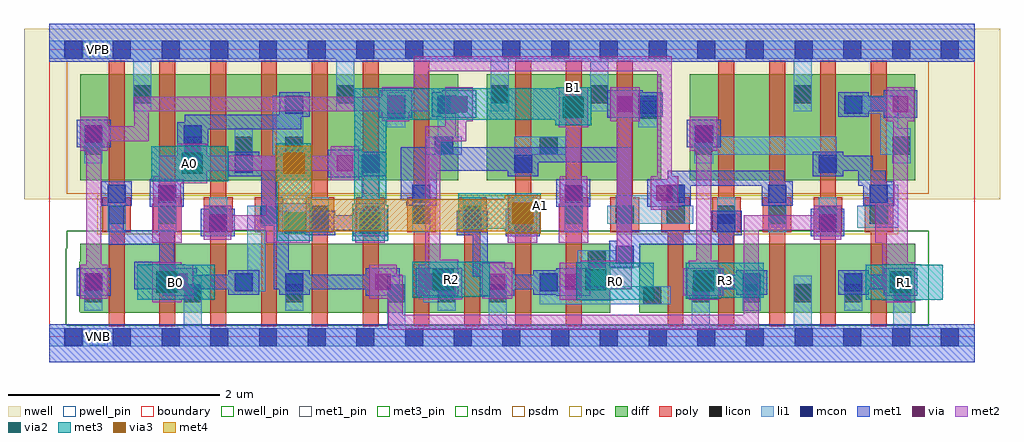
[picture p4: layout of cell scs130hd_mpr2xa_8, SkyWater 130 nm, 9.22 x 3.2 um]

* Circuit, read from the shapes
.subckt scs130hd_mpr2xa_8 A0 A1 B0 B1 R0 R1 R2 R3 VNB VPB vgnd vpwr
XM1 n1 B0 n2 VNB sky130_fd_pr__nfet_01v8 w=0.65 l=0.15
XM2 vgnd A0 n1 VNB sky130_fd_pr__nfet_01v8 w=0.65 l=0.15
XM3 n3 A1 vgnd VNB sky130_fd_pr__nfet_01v8 w=0.65 l=0.15
XM4 n4 B0 n3 VNB sky130_fd_pr__nfet_01v8 w=0.65 l=0.15
XM5 n5 B1 n4 VNB sky130_fd_pr__nfet_01v8 w=0.65 l=0.15
XM6 vgnd A0 n5 VNB sky130_fd_pr__nfet_01v8 w=0.65 l=0.15
XM7 R2 n6 vgnd VNB sky130_fd_pr__nfet_01v8 w=0.65 l=0.15
XM8 vgnd R0 R2 VNB sky130_fd_pr__nfet_01v8 w=0.65 l=0.15
XM9 n7 A1 vgnd VNB sky130_fd_pr__nfet_01v8 w=0.65 l=0.15
XM10 n6 B1 n7 VNB sky130_fd_pr__nfet_01v8 w=0.65 l=0.15
XM11 vgnd n2 R0 VNB sky130_fd_pr__nfet_01v8 w=0.65 l=0.15
XM12 R3 n6 vgnd VNB sky130_fd_pr__nfet_01v8 w=0.65 l=0.15
XM13 vgnd n2 R3 VNB sky130_fd_pr__nfet_01v8 w=0.65 l=0.15
XM14 R1 n4 vgnd VNB sky130_fd_pr__nfet_01v8 w=0.65 l=0.15
XM15 vgnd R3 R1 VNB sky130_fd_pr__nfet_01v8 w=0.65 l=0.15
XM16 vpwr B0 n2 VPB sky130_fd_pr__pfet_01v8 w=1 l=0.15
XM17 n8 A0 vpwr VPB sky130_fd_pr__pfet_01v8 w=1 l=0.15
XM18 n4 A1 n8 VPB sky130_fd_pr__pfet_01v8 w=1 l=0.15
XM19 n8 B0 n4 VPB sky130_fd_pr__pfet_01v8 w=1 l=0.15
XM20 vpwr B1 n8 VPB sky130_fd_pr__pfet_01v8 w=1 l=0.15
XM21 n2 A0 vpwr VPB sky130_fd_pr__pfet_01v8 w=1 l=0.15
XM22 R2 n6 n2 VPB sky130_fd_pr__pfet_01v8 w=1 l=0.15
XM23 n6 A1 vpwr VPB sky130_fd_pr__pfet_01v8 w=1 l=0.15
XM24 vpwr B1 n6 VPB sky130_fd_pr__pfet_01v8 w=1 l=0.15
XM25 R0 n2 vpwr VPB sky130_fd_pr__pfet_01v8 w=1 l=0.15
XM26 n9 n6 R3 VPB sky130_fd_pr__pfet_01v8 w=1 l=0.15
XM27 vpwr n2 n9 VPB sky130_fd_pr__pfet_01v8 w=1 l=0.15
XM28 n10 n4 vpwr VPB sky130_fd_pr__pfet_01v8 w=1 l=0.15
XM29 R1 R3 n10 VPB sky130_fd_pr__pfet_01v8 w=1 l=0.15
.ends

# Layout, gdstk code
import gdstk
lib = gdstk.Library(unit=1e-6, precision=1e-09)
def R(c, l, rs):  # rectangles x0, y0, x1, y1
    for r in rs: c.add(gdstk.rectangle(r[:2], r[2:], *l))
nwell_pin = (64, 16)
nwell = (64, 20)
diff = (65, 20)
poly = (66, 20)
licon = (66, 44)
li1 = (67, 20)
mcon = (67, 44)
met1_pin = (68, 16)
met1 = (68, 20)
via = (68, 44)
met2 = (69, 20)
via2 = (69, 44)
met3_pin = (70, 16)
met3 = (70, 20)
via3 = (70, 44)
met4 = (71, 20)
nsdm = (93, 44)
psdm = (94, 20)
npc = (95, 20)
pwell_pin = (122, 16)
boundary = (235, 4)

scs130hd_mpr2xa_8 = lib.new_cell('scs130hd_mpr2xa_8')
R(scs130hd_mpr2xa_8, nwell_pin, [(0.38,2.63,0.55,2.8), (0.38,2.63,0.55,2.8)])
R(scs130hd_mpr2xa_8, nwell, [(-0.24,1.3,8.98,2.91), (-0.24,1.3,8.98,2.91)])
R(scs130hd_mpr2xa_8, diff, [(0.29,0.23,5.3,0.24), (0.29,0.23,5.3,0.24), (5.57,0.23,8.18,0.88), (5.57,0.23,8.18,0.88), (0.28,0.24,5.3,0.71), (0.28,0.24,5.3,0.71), (0.29,0.71,5.3,0.88), (0.29,0.71,5.3,0.88), (0.29,1.48,3.86,2.48), (0.29,1.48,3.86,2.48), (4.13,1.48,5.78,2.48), (4.13,1.48,5.78,2.48), (6.05,1.48,8.18,2.48), (6.05,1.48,8.18,2.48)])
R(scs130hd_mpr2xa_8, poly, [(0.56,0.1,0.71,0.99), (0.56,0.1,0.71,0.99), (1.04,0.1,1.19,0.99), (1.04,0.1,1.19,0.99), (1.52,0.1,1.67,0.99), (1.52,0.1,1.67,0.99), (2,0.1,2.15,0.99), (2,0.1,2.15,0.99), (2.48,0.1,2.63,0.99), (2.48,0.1,2.63,0.99), (2.96,0.1,3.11,0.99), (2.96,0.1,3.11,0.99), (3.44,0.1,3.59,0.99), (3.44,0.1,3.59,0.99), (3.92,0.1,4.07,0.99), (3.92,0.1,4.07,0.99), (4.4,0.1,4.55,0.99), (4.4,0.1,4.55,0.99), (4.88,0.1,5.03,0.99), (4.88,0.1,5.03,0.99), (5.84,0.1,5.99,0.99), (5.84,0.1,5.99,0.99), (6.32,0.1,6.47,0.99), (6.32,0.1,6.47,0.99), (6.8,0.1,6.95,0.99), (6.8,0.1,6.95,0.99), (7.28,0.1,7.43,0.99), (7.28,0.1,7.43,0.99), (7.76,0.1,7.91,0.99), (7.76,0.1,7.91,0.99), (0.5,0.99,0.77,1.32), (0.5,0.99,0.77,1.32), (0.98,0.99,1.25,1.32), (0.98,0.99,1.25,1.32), (1.46,0.99,1.73,1.32), (1.46,0.99,1.73,1.32), (1.94,0.99,2.21,1.32), (1.94,0.99,2.21,1.32), (2.42,0.99,2.69,1.32), (2.42,0.99,2.69,1.32), (2.9,0.99,3.17,1.32), (2.9,0.99,3.17,1.32), (3.38,0.99,3.65,1.32), (3.38,0.99,3.65,1.32), (3.86,0.99,4.13,1.32), (3.86,0.99,4.13,1.32), (4.34,0.99,4.61,1.32), (4.34,0.99,4.61,1.32), (4.82,0.99,5.09,1.32), (4.82,0.99,5.09,1.32), (5.3,0.99,5.57,1.32), (5.3,0.99,5.57,1.32), (5.78,0.99,6.05,1.32), (5.78,0.99,6.05,1.32), (6.26,0.99,6.53,1.32), (6.26,0.99,6.53,1.32), (6.74,0.99,7.01,1.32), (6.74,0.99,7.01,1.32), (7.22,0.99,7.49,1.32), (7.22,0.99,7.49,1.32), (7.7,0.99,7.97,1.32), (7.7,0.99,7.97,1.32), (0.56,1.32,0.71,2.61), (0.56,1.32,0.71,2.61), (1.04,1.32,1.19,2.61), (1.04,1.32,1.19,2.61), (1.52,1.32,1.67,2.61), (1.52,1.32,1.67,2.61), (2,1.32,2.15,2.61), (2,1.32,2.15,2.61), (2.48,1.32,2.63,2.61), (2.48,1.32,2.63,2.61), (2.96,1.32,3.11,2.61), (2.96,1.32,3.11,2.61), (3.44,1.32,3.59,2.61), (3.44,1.32,3.59,2.61), (4.4,1.32,4.55,2.61), (4.4,1.32,4.55,2.61), (4.88,1.32,5.03,2.61), (4.88,1.32,5.03,2.61), (5.36,1.32,5.51,2.61), (5.36,1.32,5.51,2.61), (6.32,1.32,6.47,2.61), (6.32,1.32,6.47,2.61), (6.8,1.32,6.95,2.61), (6.8,1.32,6.95,2.61), (7.28,1.32,7.43,2.61), (7.28,1.32,7.43,2.61), (7.76,1.32,7.91,2.61), (7.76,1.32,7.91,2.61)])
R(scs130hd_mpr2xa_8, licon, [(5.61,0.31,5.78,0.48), (5.61,0.31,5.78,0.48), (0.33,0.33,0.5,0.5), (0.33,0.33,0.5,0.5), (1.27,0.33,1.44,0.5), (1.27,0.33,1.44,0.5), (2.23,0.33,2.4,0.5), (2.23,0.33,2.4,0.5), (3.19,0.33,3.36,0.5), (3.19,0.33,3.36,0.5), (3.67,0.33,3.84,0.5), (3.67,0.33,3.84,0.5), (4.15,0.33,4.32,0.5), (4.15,0.33,4.32,0.5), (6.07,0.33,6.24,0.5), (6.07,0.33,6.24,0.5), (6.55,0.33,6.72,0.5), (6.55,0.33,6.72,0.5), (7.03,0.33,7.2,0.5), (7.03,0.33,7.2,0.5), (7.51,0.33,7.68,0.5), (7.51,0.33,7.68,0.5), (7.97,0.33,8.14,0.5), (7.97,0.33,8.14,0.5), (5.085,0.65,5.255,0.82), (5.085,0.65,5.255,0.82), (0.55,1.07,0.72,1.24), (0.55,1.07,0.72,1.24), (1.03,1.07,1.2,1.24), (1.03,1.07,1.2,1.24), (1.51,1.07,1.68,1.24), (1.51,1.07,1.68,1.24), (1.99,1.07,2.16,1.24), (1.99,1.07,2.16,1.24), (2.47,1.07,2.64,1.24), (2.47,1.07,2.64,1.24), (2.95,1.07,3.12,1.24), (2.95,1.07,3.12,1.24), (3.43,1.07,3.6,1.24), (3.43,1.07,3.6,1.24), (3.91,1.07,4.08,1.24), (3.91,1.07,4.08,1.24), (4.39,1.07,4.56,1.24), (4.39,1.07,4.56,1.24), (4.87,1.07,5.04,1.24), (4.87,1.07,5.04,1.24), (5.35,1.07,5.52,1.24), (5.35,1.07,5.52,1.24), (5.83,1.07,6,1.24), (5.83,1.07,6,1.24), (6.31,1.07,6.48,1.24), (6.31,1.07,6.48,1.24), (6.79,1.07,6.96,1.24), (6.79,1.07,6.96,1.24), (7.27,1.07,7.44,1.24), (7.27,1.07,7.44,1.24), (7.75,1.07,7.92,1.24), (7.75,1.07,7.92,1.24), (0.33,1.72,0.5,1.89), (0.33,1.72,0.5,1.89), (1.27,1.72,1.44,1.89), (1.27,1.72,1.44,1.89), (1.75,1.72,1.92,1.89), (1.75,1.72,1.92,1.89), (2.23,1.72,2.4,1.89), (2.23,1.72,2.4,1.89), (3.645,1.72,3.815,1.89), (3.645,1.72,3.815,1.89), (4.63,1.72,4.8,1.89), (4.63,1.72,4.8,1.89), (6.09,1.72,6.26,1.89), (6.09,1.72,6.26,1.89), (7.965,1.72,8.135,1.89), (7.965,1.72,8.135,1.89), (3.19,2.06,3.36,2.23), (3.19,2.06,3.36,2.23), (5.565,2.06,5.735,2.23), (5.565,2.06,5.735,2.23), (0.79,2.21,0.96,2.38), (0.79,2.21,0.96,2.38), (2.71,2.21,2.88,2.38), (2.71,2.21,2.88,2.38), (4.17,2.21,4.34,2.38), (4.17,2.21,4.34,2.38), (5.11,2.21,5.28,2.38), (5.11,2.21,5.28,2.38), (7.03,2.21,7.2,2.38), (7.03,2.21,7.2,2.38)])
R(scs130hd_mpr2xa_8, li1, [(0,-0.09,8.74,0.08), (0,-0.09,8.74,0.08), (1.27,0.08,1.44,0.58), (1.27,0.08,1.44,0.58), (3.19,0.08,3.36,0.58), (3.19,0.08,3.36,0.58), (4.15,0.08,4.32,0.58), (4.15,0.08,4.32,0.58), (6.07,0.08,6.24,0.58), (6.07,0.08,6.24,0.58), (7.03,0.08,7.2,0.58), (7.03,0.08,7.2,0.58), (7.97,0.08,8.14,0.58), (7.97,0.08,8.14,0.58), (0.33,0.25,0.5,0.6), (0.33,0.25,0.5,0.6), (2.23,0.25,2.4,0.6), (2.23,0.25,2.4,0.6), (3.67,0.25,3.84,0.33), (3.67,0.25,3.84,0.33), (6.55,0.25,6.72,0.6), (6.55,0.25,6.72,0.6), (7.51,0.25,7.68,0.6), (7.51,0.25,7.68,0.6), (4.63,0.31,5.87,0.48), (4.63,0.31,5.87,0.48), (3.53,0.33,3.84,0.55), (3.53,0.33,3.84,0.55), (1.75,0.43,2.04,0.6), (1.75,0.43,2.04,0.6), (4.63,0.48,4.8,0.6), (4.63,0.48,4.8,0.6), (3.63,0.55,3.84,0.58), (3.63,0.55,3.84,0.58), (3.63,0.58,3.8,0.6), (3.63,0.58,3.8,0.6), (1.87,0.6,2.04,1.07), (1.87,0.6,2.04,1.07), (4.99,0.65,5.52,0.82), (4.99,0.65,5.52,0.82), (5.35,0.82,5.52,0.86), (5.35,0.82,5.52,0.86), (0.55,0.99,0.72,1.44), (0.55,0.99,0.72,1.44), (1.03,0.99,1.2,1.44), (1.03,0.99,1.2,1.44), (1.51,0.99,1.68,1.32), (1.51,0.99,1.68,1.32), (2.47,0.99,2.64,1.32), (2.47,0.99,2.64,1.32), (2.95,0.99,3.12,1.72), (2.95,0.99,3.12,1.72), (3.43,0.99,3.6,1.44), (3.43,0.99,3.6,1.44), (3.91,0.99,4.08,1.32), (3.91,0.99,4.08,1.32), (4.39,0.99,4.56,1.32), (4.39,0.99,4.56,1.32), (4.87,0.99,5.04,1.44), (4.87,0.99,5.04,1.44), (6.31,0.99,6.48,1.32), (6.31,0.99,6.48,1.32), (6.79,0.99,6.96,1.44), (6.79,0.99,6.96,1.44), (7.27,0.99,7.44,1.32), (7.27,0.99,7.44,1.32), (7.63,1.03,8.02,1.24), (7.63,1.03,8.02,1.24), (1.87,1.07,2.24,1.24), (1.87,1.07,2.24,1.24), (5.27,1.07,6.08,1.24), (5.27,1.07,6.08,1.24), (5.35,1.24,6,1.34), (5.35,1.24,6,1.34), (7.75,1.24,8.02,1.44), (7.75,1.24,8.02,1.44), (5.83,1.34,6,1.44), (5.83,1.34,6,1.44), (1.75,1.55,1.92,1.97), (1.75,1.55,1.92,1.97), (4.39,1.55,4.56,1.72), (4.39,1.55,4.56,1.72), (7.27,1.55,7.44,1.72), (7.27,1.55,7.44,1.72), (0.33,1.64,0.5,2), (0.33,1.64,0.5,2), (1.27,1.64,1.44,2), (1.27,1.64,1.44,2), (2.23,1.64,2.4,1.72), (2.23,1.64,2.4,1.72), (6.09,1.64,6.27,1.72), (6.09,1.64,6.27,1.72), (7.96,1.64,8.135,1.72), (7.96,1.64,8.135,1.72), (2.11,1.72,2.4,2.28), (2.11,1.72,2.4,2.28), (3.56,1.72,3.895,1.89), (3.56,1.72,3.895,1.89), (4.39,1.72,4.88,1.89), (4.39,1.72,4.88,1.89), (6.09,1.72,7.44,1.89), (6.09,1.72,7.44,1.89), (7.85,1.72,8.135,1.97), (7.85,1.72,8.135,1.97), (3.67,1.89,3.84,2.28), (3.67,1.89,3.84,2.28), (6.09,1.89,6.27,2), (6.09,1.89,6.27,2), (7.85,1.97,8.02,2.11), (7.85,1.97,8.02,2.11), (3.19,1.98,3.36,2.31), (3.19,1.98,3.36,2.31), (5.565,1.98,5.74,2.31), (5.565,1.98,5.74,2.31), (7.51,2.11,8.02,2.28), (7.51,2.11,8.02,2.28), (0.79,2.13,0.96,2.63), (0.79,2.13,0.96,2.63), (2.71,2.13,2.88,2.63), (2.71,2.13,2.88,2.63), (4.17,2.13,4.34,2.63), (4.17,2.13,4.34,2.63), (5.11,2.13,5.28,2.63), (5.11,2.13,5.28,2.63), (7.03,2.13,7.2,2.63), (7.03,2.13,7.2,2.63), (0,2.63,8.74,2.8), (0,2.63,8.74,2.8)])
R(scs130hd_mpr2xa_8, mcon, [(0.14,-0.09,0.31,0.08), (0.14,-0.09,0.31,0.08), (0.6,-0.09,0.77,0.08), (0.6,-0.09,0.77,0.08), (1.06,-0.09,1.23,0.08), (1.06,-0.09,1.23,0.08), (1.52,-0.09,1.69,0.08), (1.52,-0.09,1.69,0.08), (1.98,-0.09,2.15,0.08), (1.98,-0.09,2.15,0.08), (2.44,-0.09,2.61,0.08), (2.44,-0.09,2.61,0.08), (2.9,-0.09,3.07,0.08), (2.9,-0.09,3.07,0.08), (3.36,-0.09,3.53,0.08), (3.36,-0.09,3.53,0.08), (3.82,-0.09,3.99,0.08), (3.82,-0.09,3.99,0.08), (4.28,-0.09,4.45,0.08), (4.28,-0.09,4.45,0.08), (4.74,-0.09,4.91,0.08), (4.74,-0.09,4.91,0.08), (5.2,-0.09,5.37,0.08), (5.2,-0.09,5.37,0.08), (5.66,-0.09,5.83,0.08), (5.66,-0.09,5.83,0.08), (6.12,-0.09,6.29,0.08), (6.12,-0.09,6.29,0.08), (6.58,-0.09,6.75,0.08), (6.58,-0.09,6.75,0.08), (7.04,-0.09,7.21,0.08), (7.04,-0.09,7.21,0.08), (7.5,-0.09,7.67,0.08), (7.5,-0.09,7.67,0.08), (7.96,-0.09,8.13,0.08), (7.96,-0.09,8.13,0.08), (8.42,-0.09,8.59,0.08), (8.42,-0.09,8.59,0.08), (0.33,0.43,0.5,0.6), (0.33,0.43,0.5,0.6), (1.75,0.43,1.92,0.6), (1.75,0.43,1.92,0.6), (2.23,0.43,2.4,0.6), (2.23,0.43,2.4,0.6), (3.63,0.43,3.8,0.6), (3.63,0.43,3.8,0.6), (4.63,0.43,4.8,0.6), (4.63,0.43,4.8,0.6), (6.55,0.43,6.72,0.6), (6.55,0.43,6.72,0.6), (7.51,0.43,7.68,0.6), (7.51,0.43,7.68,0.6), (5.35,0.69,5.52,0.86), (5.35,0.69,5.52,0.86), (1.51,0.99,1.68,1.16), (1.51,0.99,1.68,1.16), (2.47,0.99,2.64,1.16), (2.47,0.99,2.64,1.16), (3.91,0.99,4.08,1.16), (3.91,0.99,4.08,1.16), (4.39,0.99,4.56,1.16), (4.39,0.99,4.56,1.16), (6.31,0.99,6.48,1.16), (6.31,0.99,6.48,1.16), (7.27,0.99,7.44,1.16), (7.27,0.99,7.44,1.16), (0.55,1.27,0.72,1.44), (0.55,1.27,0.72,1.44), (1.03,1.27,1.2,1.44), (1.03,1.27,1.2,1.44), (3.43,1.27,3.6,1.44), (3.43,1.27,3.6,1.44), (4.87,1.27,5.04,1.44), (4.87,1.27,5.04,1.44), (5.83,1.27,6,1.44), (5.83,1.27,6,1.44), (6.79,1.27,6.96,1.44), (6.79,1.27,6.96,1.44), (7.75,1.27,7.92,1.44), (7.75,1.27,7.92,1.44), (1.75,1.55,1.92,1.72), (1.75,1.55,1.92,1.72), (2.95,1.55,3.12,1.72), (2.95,1.55,3.12,1.72), (4.39,1.55,4.56,1.72), (4.39,1.55,4.56,1.72), (7.27,1.55,7.44,1.72), (7.27,1.55,7.44,1.72), (0.33,1.83,0.5,2), (0.33,1.83,0.5,2), (1.27,1.83,1.44,2), (1.27,1.83,1.44,2), (6.1,1.83,6.27,2), (6.1,1.83,6.27,2), (2.23,2.11,2.4,2.28), (2.23,2.11,2.4,2.28), (3.19,2.11,3.36,2.28), (3.19,2.11,3.36,2.28), (3.67,2.11,3.84,2.28), (3.67,2.11,3.84,2.28), (5.565,2.11,5.735,2.28), (5.565,2.11,5.735,2.28), (7.51,2.11,7.68,2.28), (7.51,2.11,7.68,2.28), (0.14,2.63,0.31,2.8), (0.14,2.63,0.31,2.8), (0.6,2.63,0.77,2.8), (0.6,2.63,0.77,2.8), (1.06,2.63,1.23,2.8), (1.06,2.63,1.23,2.8), (1.52,2.63,1.69,2.8), (1.52,2.63,1.69,2.8), (1.98,2.63,2.15,2.8), (1.98,2.63,2.15,2.8), (2.44,2.63,2.61,2.8), (2.44,2.63,2.61,2.8), (2.9,2.63,3.07,2.8), (2.9,2.63,3.07,2.8), (3.36,2.63,3.53,2.8), (3.36,2.63,3.53,2.8), (3.82,2.63,3.99,2.8), (3.82,2.63,3.99,2.8), (4.28,2.63,4.45,2.8), (4.28,2.63,4.45,2.8), (4.74,2.63,4.91,2.8), (4.74,2.63,4.91,2.8), (5.2,2.63,5.37,2.8), (5.2,2.63,5.37,2.8), (5.66,2.63,5.83,2.8), (5.66,2.63,5.83,2.8), (6.12,2.63,6.29,2.8), (6.12,2.63,6.29,2.8), (6.58,2.63,6.75,2.8), (6.58,2.63,6.75,2.8), (7.04,2.63,7.21,2.8), (7.04,2.63,7.21,2.8), (7.5,2.63,7.67,2.8), (7.5,2.63,7.67,2.8), (7.96,2.63,8.13,2.8), (7.96,2.63,8.13,2.8), (8.42,2.63,8.59,2.8), (8.42,2.63,8.59,2.8)])
R(scs130hd_mpr2xa_8, met1_pin, [(0.15,-0.08,0.32,0.08), (0.15,-0.08,0.32,0.08), (0.15,2.63,0.32,2.8), (0.15,2.63,0.32,2.8)])
R(scs130hd_mpr2xa_8, met1, [(0,-0.24,8.74,0.12), (0,-0.24,8.74,0.12), (0.26,0.39,0.58,0.65), (0.26,0.39,0.58,0.65), (1.07,0.39,1.39,0.45), (1.07,0.39,1.39,0.45), (2.99,0.39,3.31,0.45), (2.99,0.39,3.31,0.45), (3.46,0.39,3.86,0.65), (3.46,0.39,3.86,0.65), (4.07,0.39,4.39,0.45), (4.07,0.39,4.39,0.45), (4.79,0.39,5.11,0.4), (4.79,0.39,5.11,0.4), (6.02,0.39,6.34,0.45), (6.02,0.39,6.34,0.45), (7.88,0.39,8.2,0.45), (7.88,0.39,8.2,0.45), (1.69,0.4,1.98,0.45), (1.69,0.4,1.98,0.45), (2.17,0.4,2.46,0.45), (2.17,0.4,2.46,0.45), (4.57,0.4,5.11,0.45), (4.57,0.4,5.11,0.45), (6.49,0.4,6.78,0.45), (6.49,0.4,6.78,0.45), (7.45,0.4,7.74,0.45), (7.45,0.4,7.74,0.45), (0.8,0.45,1.98,0.59), (0.8,0.45,1.98,0.59), (2.12,0.45,3.31,0.59), (2.12,0.45,3.31,0.59), (4.07,0.45,5.11,0.57), (4.07,0.45,5.11,0.57), (6.02,0.45,6.78,0.59), (6.02,0.45,6.78,0.59), (7.45,0.45,8.2,0.59), (7.45,0.45,8.2,0.59), (4,0.57,5.11,0.59), (4,0.57,5.11,0.59), (0.8,0.59,1.39,0.65), (0.8,0.59,1.39,0.65), (1.69,0.59,1.98,0.63), (1.69,0.59,1.98,0.63), (2.12,0.59,2.46,0.63), (2.12,0.59,2.46,0.63), (2.99,0.59,3.31,0.65), (2.99,0.59,3.31,0.65), (4,0.59,4.39,0.65), (4,0.59,4.39,0.65), (4.57,0.59,5.11,0.63), (4.57,0.59,5.11,0.63), (6.02,0.59,6.34,0.65), (6.02,0.59,6.34,0.65), (6.49,0.59,6.78,0.63), (6.49,0.59,6.78,0.63), (7.45,0.59,7.74,0.63), (7.45,0.59,7.74,0.63), (7.88,0.59,8.2,0.65), (7.88,0.59,8.2,0.65), (2.12,0.63,2.26,1.05), (2.12,0.63,2.26,1.05), (4.79,0.63,5.11,0.65), (4.79,0.63,5.11,0.65), (0.8,0.65,1.18,0.71), (0.8,0.65,1.18,0.71), (4,0.65,4.3,0.71), (4,0.65,4.3,0.71), (5.29,0.66,5.58,0.87), (5.29,0.66,5.58,0.87), (1.04,0.71,1.18,0.87), (1.04,0.71,1.18,0.87), (4,0.71,4.14,0.96), (4,0.71,4.14,0.96), (0.56,0.87,1.18,1.01), (0.56,0.87,1.18,1.01), (5.29,0.87,6.46,0.91), (5.29,0.87,6.46,0.91), (5.36,0.91,6.46,0.96), (5.36,0.91,6.46,0.96), (1.43,0.95,1.75,1.21), (1.43,0.95,1.75,1.21), (2.87,0.95,3.19,1.01), (2.87,0.95,3.19,1.01), (4.31,0.95,4.63,1.21), (4.31,0.95,4.63,1.21), (7.19,0.95,7.51,1.21), (7.19,0.95,7.51,1.21), (2.41,0.96,2.7,1.01), (2.41,0.96,2.7,1.01), (3.85,0.96,4.14,1.19), (3.85,0.96,4.14,1.19), (5.36,0.96,6.54,1.01), (5.36,0.96,6.54,1.01), (0.56,1.01,0.7,1.24), (0.56,1.01,0.7,1.24), (2.41,1.01,3.19,1.15), (2.41,1.01,3.19,1.15), (5.36,1.01,5.5,1.65), (5.36,1.01,5.5,1.65), (6.25,1.01,6.54,1.19), (6.25,1.01,6.54,1.19), (2,1.05,2.26,1.19), (2,1.05,2.26,1.19), (2.41,1.15,2.7,1.19), (2.41,1.15,2.7,1.19), (2.87,1.15,3.19,1.21), (2.87,1.15,3.19,1.21), (2,1.19,2.14,1.52), (2,1.19,2.14,1.52), (0.95,1.23,1.27,1.49), (0.95,1.23,1.27,1.49), (4.79,1.23,5.11,1.49), (4.79,1.23,5.11,1.49), (5.65,1.23,5.97,1.24), (5.65,1.23,5.97,1.24), (0.49,1.24,0.78,1.47), (0.49,1.24,0.78,1.47), (3.37,1.24,3.66,1.29), (3.37,1.24,3.66,1.29), (5.65,1.24,6.06,1.43), (5.65,1.24,6.06,1.43), (6.73,1.24,7.02,1.43), (6.73,1.24,7.02,1.43), (7.69,1.24,7.98,1.43), (7.69,1.24,7.98,1.43), (3.32,1.29,3.66,1.57), (3.32,1.29,3.66,1.57), (5.65,1.43,7.02,1.47), (5.65,1.43,7.02,1.47), (7.64,1.43,7.98,1.47), (7.64,1.43,7.98,1.47), (5.65,1.47,6.94,1.49), (5.65,1.47,6.94,1.49), (7.64,1.47,7.9,1.57), (7.64,1.47,7.9,1.57), (5.84,1.49,6.94,1.57), (5.84,1.49,6.94,1.57), (2.63,1.51,2.95,1.52), (2.63,1.51,2.95,1.52), (1.69,1.52,2.14,1.71), (1.69,1.52,2.14,1.71), (2.63,1.52,3.18,1.75), (2.63,1.52,3.18,1.75), (4.33,1.52,4.62,1.57), (4.33,1.52,4.62,1.57), (7.21,1.52,7.5,1.57), (7.21,1.52,7.5,1.57), (3.32,1.57,4.62,1.65), (3.32,1.57,4.62,1.65), (7.21,1.57,7.78,1.71), (7.21,1.57,7.78,1.71), (3.32,1.65,5.5,1.79), (3.32,1.65,5.5,1.79), (1.69,1.71,1.98,1.75), (1.69,1.71,1.98,1.75), (7.21,1.71,7.5,1.75), (7.21,1.71,7.5,1.75), (2.63,1.75,2.95,1.77), (2.63,1.75,2.95,1.77), (0.26,1.79,0.58,2.05), (0.26,1.79,0.58,2.05), (3.64,1.79,3.81,1.89), (3.64,1.79,3.81,1.89), (6.02,1.79,6.34,2.05), (6.02,1.79,6.34,2.05), (1.21,1.8,1.5,1.96), (1.21,1.8,1.5,1.96), (1.21,1.96,2.38,2.03), (1.21,1.96,2.38,2.03), (1.28,2.03,2.38,2.08), (1.28,2.03,2.38,2.08), (3.11,2.07,3.43,2.33), (3.11,2.07,3.43,2.33), (3.71,2.07,4.03,2.08), (3.71,2.07,4.03,2.08), (5.27,2.07,5.605,2.08), (5.27,2.07,5.605,2.08), (7.88,2.07,8.2,2.13), (7.88,2.07,8.2,2.13), (1.28,2.08,2.46,2.1), (1.28,2.08,2.46,2.1), (3.61,2.08,4.03,2.31), (3.61,2.08,4.03,2.31), (5.27,2.08,5.795,2.31), (5.27,2.08,5.795,2.31), (7.45,2.08,7.74,2.13), (7.45,2.08,7.74,2.13), (2.17,2.1,2.46,2.31), (2.17,2.1,2.46,2.31), (7.45,2.13,8.2,2.27), (7.45,2.13,8.2,2.27), (7.45,2.27,7.74,2.31), (7.45,2.27,7.74,2.31), (7.88,2.27,8.2,2.33), (7.88,2.27,8.2,2.33), (3.71,2.31,4.03,2.33), (3.71,2.31,4.03,2.33), (5.27,2.31,5.605,2.33), (5.27,2.31,5.605,2.33), (0,2.6,8.74,2.96), (0,2.6,8.74,2.96)])
R(scs130hd_mpr2xa_8, via, [(0.345,0.445,0.495,0.595), (0.345,0.445,0.495,0.595), (1.155,0.445,1.305,0.595), (1.155,0.445,1.305,0.595), (3.075,0.445,3.225,0.595), (3.075,0.445,3.225,0.595), (3.545,0.445,3.695,0.595), (3.545,0.445,3.695,0.595), (4.155,0.445,4.305,0.595), (4.155,0.445,4.305,0.595), (4.875,0.445,5.025,0.595), (4.875,0.445,5.025,0.595), (6.105,0.445,6.255,0.595), (6.105,0.445,6.255,0.595), (7.965,0.445,8.115,0.595), (7.965,0.445,8.115,0.595), (1.515,1.005,1.665,1.155), (1.515,1.005,1.665,1.155), (2.955,1.005,3.105,1.155), (2.955,1.005,3.105,1.155), (4.395,1.005,4.545,1.155), (4.395,1.005,4.545,1.155), (7.275,1.005,7.425,1.155), (7.275,1.005,7.425,1.155), (1.035,1.285,1.185,1.435), (1.035,1.285,1.185,1.435), (4.875,1.285,5.025,1.435), (4.875,1.285,5.025,1.435), (5.735,1.285,5.885,1.435), (5.735,1.285,5.885,1.435), (2.715,1.565,2.865,1.715), (2.715,1.565,2.865,1.715), (0.345,1.845,0.495,1.995), (0.345,1.845,0.495,1.995), (6.105,1.845,6.255,1.995), (6.105,1.845,6.255,1.995), (3.195,2.125,3.345,2.275), (3.195,2.125,3.345,2.275), (3.795,2.125,3.945,2.275), (3.795,2.125,3.945,2.275), (5.36,2.125,5.51,2.275), (5.36,2.125,5.51,2.275), (7.965,2.125,8.115,2.275), (7.965,2.125,8.115,2.275)])
R(scs130hd_mpr2xa_8, met2, [(3.2,0.07,6.7,0.21), (3.2,0.07,6.7,0.21), (3.2,0.21,3.34,0.36), (3.2,0.21,3.34,0.36), (6.56,0.21,6.7,1.01), (6.56,0.21,6.7,1.01), (0.97,0.33,1.25,0.36), (0.97,0.33,1.25,0.36), (7.9,0.33,8.18,0.45), (7.9,0.33,8.18,0.45), (4.82,0.35,5.3,0.45), (4.82,0.35,5.3,0.45), (6.04,0.35,6.32,0.39), (6.04,0.35,6.32,0.39), (3.49,0.355,3.9,0.65), (3.49,0.355,3.9,0.65), (0.29,0.36,0.55,0.68), (0.29,0.36,0.55,0.68), (0.97,0.36,1.36,0.68), (0.97,0.36,1.36,0.68), (3.02,0.36,3.34,0.59), (3.02,0.36,3.34,0.59), (4.09,0.36,4.37,0.7), (4.09,0.36,4.37,0.7), (5.99,0.39,6.365,0.65), (5.99,0.39,6.365,0.65), (4.82,0.45,5.5,0.7), (4.82,0.45,5.5,0.7), (7.87,0.45,8.18,0.705), (7.87,0.45,8.18,0.705), (3.02,0.59,3.28,0.68), (3.02,0.59,3.28,0.68), (3.49,0.65,3.86,0.68), (3.49,0.65,3.86,0.68), (6.04,0.65,6.32,0.72), (6.04,0.65,6.32,0.72), (0.35,0.68,0.49,1.76), (0.35,0.68,0.49,1.76), (0.97,0.68,1.25,0.705), (0.97,0.68,1.25,0.705), (3.55,0.68,3.86,0.73), (3.55,0.68,3.86,0.73), (5.02,0.7,5.5,0.72), (5.02,0.7,5.5,0.72), (7.87,0.705,8.11,0.89), (7.87,0.705,8.11,0.89), (5.36,0.72,5.5,2.04), (5.36,0.72,5.5,2.04), (6.11,0.72,6.25,1.76), (6.11,0.72,6.25,1.76), (3.55,0.73,3.69,1.85), (3.55,0.73,3.69,1.85), (0.97,0.89,1.25,1.26), (0.97,0.89,1.25,1.26), (2.05,0.89,2.46,1.01), (2.05,0.89,2.46,1.01), (2.89,0.89,3.17,1.265), (2.89,0.89,3.17,1.265), (4.33,0.89,4.61,1.36), (4.33,0.89,4.61,1.36), (4.81,0.89,5.09,1.26), (4.81,0.89,5.09,1.26), (7.8,0.89,8.11,1.26), (7.8,0.89,8.11,1.26), (1.46,0.92,1.72,1.01), (1.46,0.92,1.72,1.01), (7.22,0.92,7.48,1.01), (7.22,0.92,7.48,1.01), (1.46,1.01,2.46,1.15), (1.46,1.01,2.46,1.15), (6.56,1.01,7.48,1.15), (6.56,1.01,7.48,1.15), (1.46,1.15,1.72,1.24), (1.46,1.15,1.72,1.24), (2.05,1.15,2.46,1.26), (2.05,1.15,2.46,1.26), (7.22,1.15,7.48,1.24), (7.22,1.15,7.48,1.24), (5.68,1.2,5.94,1.52), (5.68,1.2,5.94,1.52), (0.98,1.26,1.24,1.45), (0.98,1.26,1.24,1.45), (2.155,1.26,2.46,1.265), (2.155,1.26,2.46,1.265), (4.82,1.26,5.08,1.52), (4.82,1.26,5.08,1.52), (7.97,1.26,8.11,2.04), (7.97,1.26,8.11,2.04), (0.98,1.45,1.49,1.52), (0.98,1.45,1.49,1.52), (2.66,1.48,2.92,1.57), (2.66,1.48,2.92,1.57), (1.04,1.52,1.49,1.57), (1.04,1.52,1.49,1.57), (4.88,1.52,5.02,1.98), (4.88,1.52,5.02,1.98), (5.74,1.52,5.88,2.51), (5.74,1.52,5.88,2.51), (1.04,1.57,2.92,1.71), (1.04,1.57,2.92,1.71), (1.21,1.71,1.49,1.825), (1.21,1.71,1.49,1.825), (2.66,1.71,2.92,1.8), (2.66,1.71,2.92,1.8), (0.29,1.76,0.55,1.85), (0.29,1.76,0.55,1.85), (6.05,1.76,6.31,2.08), (6.05,1.76,6.31,2.08), (0.29,1.85,0.94,1.99), (0.29,1.85,0.94,1.99), (3.55,1.85,3.94,1.99), (3.55,1.85,3.94,1.99), (4.81,1.98,5.09,2.36), (4.81,1.98,5.09,2.36), (0.29,1.99,0.55,2.08), (0.29,1.99,0.55,2.08), (0.8,1.99,0.94,2.13), (0.8,1.99,0.94,2.13), (3.74,1.99,3.94,2.04), (3.74,1.99,3.94,2.04), (3.14,2.04,3.4,2.13), (3.14,2.04,3.4,2.13), (3.74,2.04,4,2.36), (3.74,2.04,4,2.36), (5.3,2.04,5.575,2.36), (5.3,2.04,5.575,2.36), (7.91,2.04,8.17,2.36), (7.91,2.04,8.17,2.36), (0.8,2.13,3.58,2.27), (0.8,2.13,3.58,2.27), (3.14,2.27,3.58,2.36), (3.14,2.27,3.58,2.36), (3.44,2.36,3.58,2.51), (3.44,2.36,3.58,2.51), (3.44,2.51,5.88,2.65), (3.44,2.51,5.88,2.65)])
R(scs130hd_mpr2xa_8, via2, [(1.01,0.42,1.21,0.62), (1.01,0.42,1.21,0.62), (7.94,0.42,8.14,0.62), (7.94,0.42,8.14,0.62), (6.08,0.43,6.28,0.63), (6.08,0.43,6.28,0.63), (3.62,0.44,3.82,0.64), (3.62,0.44,3.82,0.64), (5.06,0.44,5.26,0.64), (5.06,0.44,5.26,0.64), (2.22,0.98,2.42,1.18), (2.22,0.98,2.42,1.18), (2.93,0.98,3.13,1.18), (2.93,0.98,3.13,1.18), (4.37,1.07,4.57,1.27), (4.37,1.07,4.57,1.27), (1.25,1.54,1.45,1.74), (1.25,1.54,1.45,1.74), (4.85,2.07,5.05,2.27), (4.85,2.07,5.05,2.27)])
R(scs130hd_mpr2xa_8, met3_pin, [(0.83,0.35,1.56,0.68), (0.83,0.35,1.56,0.68), (4.98,0.35,5.71,0.7), (4.98,0.35,5.71,0.7), (7.71,0.35,8.44,0.68), (7.71,0.35,8.44,0.68), (6.02,0.37,6.75,0.7), (6.02,0.37,6.75,0.7), (3.43,0.38,4.16,0.71), (3.43,0.38,4.16,0.71), (0.96,1.47,1.69,1.8), (0.96,1.47,1.69,1.8), (4.79,2.35,5.12,2.36), (4.79,2.35,5.12,2.36)])
R(scs130hd_mpr2xa_8, met3, [(4.975,0.345,5.325,0.35), (4.975,0.345,5.325,0.35), (7.87,0.345,8.23,0.35), (7.87,0.345,8.23,0.35), (0.83,0.35,1.56,0.68), (0.83,0.35,1.56,0.68), (4.975,0.35,5.71,0.7), (4.975,0.35,5.71,0.7), (7.71,0.35,8.44,0.68), (7.71,0.35,8.44,0.68), (6.01,0.36,6.34,0.37), (6.01,0.36,6.34,0.37), (3.43,0.37,3.91,0.38), (3.43,0.37,3.91,0.38), (6.01,0.37,6.75,0.7), (6.01,0.37,6.75,0.7), (3.43,0.38,4.16,0.71), (3.43,0.38,4.16,0.71), (0.93,0.68,1.285,0.685), (0.93,0.68,1.285,0.685), (7.87,0.68,8.23,0.685), (7.87,0.68,8.23,0.685), (4.975,0.7,5.325,0.705), (4.975,0.7,5.325,0.705), (2.15,0.91,2.485,1.26), (2.15,0.91,2.485,1.26), (2.86,0.91,3.2,1.245), (2.86,0.91,3.2,1.245), (4.31,0.98,4.64,1.01), (4.31,0.98,4.64,1.01), (4.3,1.01,4.64,1.02), (4.3,1.01,4.64,1.02), (3.86,1.02,4.64,1.36), (3.86,1.02,4.64,1.36), (2.86,1.245,3.18,1.26), (2.86,1.245,3.18,1.26), (2.15,1.26,2.48,1.45), (2.15,1.26,2.48,1.45), (2.88,1.26,3.18,2.05), (2.88,1.26,3.18,2.05), (2.15,1.45,2.47,1.83), (2.15,1.45,2.47,1.83), (0.96,1.47,1.69,1.8), (0.96,1.47,1.69,1.8), (1.19,1.8,1.505,1.805), (1.19,1.8,1.505,1.805), (4.78,2,5.12,2.05), (4.78,2,5.12,2.05), (2.88,2.05,5.12,2.35), (2.88,2.05,5.12,2.35), (4.79,2.35,5.12,2.36), (4.79,2.35,5.12,2.36)])
R(scs130hd_mpr2xa_8, via3, [(4.37,1.07,4.57,1.27), (4.37,1.07,4.57,1.27), (2.21,1.54,2.41,1.74), (2.21,1.54,2.41,1.74)])
R(scs130hd_mpr2xa_8, met4, [(4.31,0.98,4.64,1), (4.31,0.98,4.64,1), (2.16,1,4.64,1.3), (2.16,1,4.64,1.3), (2.16,1.3,2.48,1.47), (2.16,1.3,2.48,1.47), (4.3,1.3,4.64,1.34), (4.3,1.3,4.64,1.34), (2.14,1.47,2.48,1.805), (2.14,1.47,2.48,1.805)])
R(scs130hd_mpr2xa_8, nsdm, [(0.165,0.105,8.305,0.115), (0.165,0.105,8.305,0.115), (0.155,0.115,8.305,0.835), (0.155,0.115,8.305,0.835), (0.165,0.835,8.305,1.005), (0.165,0.835,8.305,1.005)])
R(scs130hd_mpr2xa_8, psdm, [(0.165,1.355,8.305,2.605), (0.165,1.355,8.305,2.605)])
R(scs130hd_mpr2xa_8, npc, [(0.45,0.97,8.02,1.34), (0.45,0.97,8.02,1.34)])
R(scs130hd_mpr2xa_8, pwell_pin, [(0.38,-0.08,0.55,0.08), (0.38,-0.08,0.55,0.08)])
R(scs130hd_mpr2xa_8, boundary, [(0,0,8.74,2.72), (0,0,8.74,2.72)])
scs130hd_mpr2xa_8.add(gdstk.Label('VPB', (0.465,2.715), layer=64, texttype=5))
scs130hd_mpr2xa_8.add(gdstk.Label('VPB', (0.465,2.715), layer=64, texttype=5))
scs130hd_mpr2xa_8.add(gdstk.Label('VNB', (0.465,0), layer=64, texttype=59))
scs130hd_mpr2xa_8.add(gdstk.Label('VNB', (0.465,0), layer=64, texttype=59))
scs130hd_mpr2xa_8.add(gdstk.Label('vgnd', (0.235,0), layer=68, texttype=5))
scs130hd_mpr2xa_8.add(gdstk.Label('vpwr', (0.235,2.715), layer=68, texttype=5))
scs130hd_mpr2xa_8.add(gdstk.Label('vgnd', (0.235,0), layer=68, texttype=5))
scs130hd_mpr2xa_8.add(gdstk.Label('vpwr', (0.235,2.715), layer=68, texttype=5))
scs130hd_mpr2xa_8.add(gdstk.Label('R0', (5.345,0.525), layer=70, texttype=5))
scs130hd_mpr2xa_8.add(gdstk.Label('R1', (8.075,0.515), layer=70, texttype=5))
scs130hd_mpr2xa_8.add(gdstk.Label('R2', (3.795,0.545), layer=70, texttype=5))
scs130hd_mpr2xa_8.add(gdstk.Label('R3', (6.385,0.535), layer=70, texttype=5))
scs130hd_mpr2xa_8.add(gdstk.Label('B1', (4.955,2.355), layer=70, texttype=5))
scs130hd_mpr2xa_8.add(gdstk.Label('B0', (1.195,0.515), layer=70, texttype=5))
scs130hd_mpr2xa_8.add(gdstk.Label('A0', (1.325,1.635), layer=70, texttype=5))
scs130hd_mpr2xa_8.add(gdstk.Label('R0', (5.345,0.525), layer=70, texttype=5))
scs130hd_mpr2xa_8.add(gdstk.Label('R1', (8.075,0.515), layer=70, texttype=5))
scs130hd_mpr2xa_8.add(gdstk.Label('R2', (3.795,0.545), layer=70, texttype=5))
scs130hd_mpr2xa_8.add(gdstk.Label('R3', (6.385,0.535), layer=70, texttype=5))
scs130hd_mpr2xa_8.add(gdstk.Label('B1', (4.955,2.355), layer=70, texttype=5))
scs130hd_mpr2xa_8.add(gdstk.Label('B0', (1.195,0.515), layer=70, texttype=5))
scs130hd_mpr2xa_8.add(gdstk.Label('A0', (1.325,1.635), layer=70, texttype=5))
scs130hd_mpr2xa_8.add(gdstk.Label('A1', (4.64,1.24), layer=71, texttype=5))
scs130hd_mpr2xa_8.add(gdstk.Label('A1', (4.64,1.24), layer=71, texttype=5))

lib.write_gds('scs130hd_mpr2xa_8.gds')
